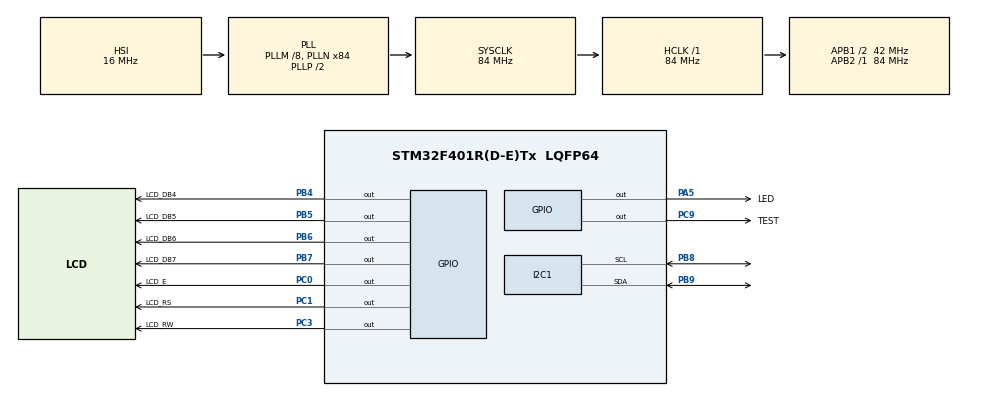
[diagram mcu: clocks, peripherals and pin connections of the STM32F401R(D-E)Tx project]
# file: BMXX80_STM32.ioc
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I2C1.I2C_Mode=I2C_Standard
Mcu.Family=STM32F4
Mcu.Name=STM32F401R(D-E)Tx
Mcu.Package=LQFP64
NVIC.PriorityGroup=NVIC_PRIORITYGROUP_4
PA5.GPIO_Label=LED
PA5.Signal=GPIO_Output
PB4.GPIO_Label=LCD_DB4
PB4.Signal=GPIO_Output
PB5.GPIO_Label=LCD_DB5
PB5.Signal=GPIO_Output
PB6.GPIO_Label=LCD_DB6
PB6.Signal=GPIO_Output
PB7.GPIO_Label=LCD_DB7
PB7.Signal=GPIO_Output
PB8.Mode=I2C
PB8.Signal=I2C1_SCL
PB9.Mode=I2C
PB9.Signal=I2C1_SDA
PC0.GPIO_Label=LCD_E
PC0.Signal=GPIO_Output
PC1.GPIO_Label=LCD_RS
PC1.Signal=GPIO_Output
PC3.GPIO_Label=LCD_RW
PC3.Signal=GPIO_Output
PC9.GPIO_Label=TEST
PC9.Signal=GPIO_Output
ProjectManager.HeapSize=0x200
ProjectManager.StackSize=0x400
ProjectManager.TargetToolchain=SW4STM32
RCC.48MHZClocksFreq_Value=42000000
RCC.AHBFreq_Value=84000000
RCC.APB1CLKDivider=RCC_HCLK_DIV2
RCC.APB1Freq_Value=42000000
RCC.APB1TimFreq_Value=84000000
RCC.APB2Freq_Value=84000000
RCC.APB2TimFreq_Value=84000000
RCC.CortexFreq_Value=84000000
RCC.HCLKFreq_Value=84000000
RCC.HSE_VALUE=25000000
RCC.HSI_VALUE=16000000
RCC.LSE_VALUE=32768
RCC.PLLM=8
RCC.PLLN=84
RCC.SYSCLKFreq_VALUE=84000000
RCC.SYSCLKSource=RCC_SYSCLKSOURCE_PLLCLK
RCC.VCOOutputFreq_Value=168000000
TIM3.Period=65535
TIM3.Prescaler=83
VP_TIM3_VS_ClockSourceINT.Mode=Internal
board=BMXX80_STM32

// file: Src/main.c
/**
  ******************************************************************************
  * File Name          : main.c
  * Description        : Main program body
  ******************************************************************************
  ** This notice applies to any and all portions of this file
  * that are not between comment pairs USER CODE BEGIN and
  * USER CODE END. Other portions of this file, whether
  * inserted by the user or by software development tools
  * are owned by their respective copyright owners.
  *
  * COPYRIGHT(c) 2018 STMicroelectronics
  *
  * Redistribution and use in source and binary forms, with or without modification,
  * are permitted provided that the following conditions are met:
  *   1. Redistributions of source code must retain the above copyright notice,
  *      this list of conditions and the following disclaimer.
  *   2. Redistributions in binary form must reproduce the above copyright notice,
  *      this list of conditions and the following disclaimer in the documentation
  *      and/or other materials provided with the distribution.
  *   3. Neither the name of STMicroelectronics nor the names of its contributors
  *      may be used to endorse or promote products derived from this software
  *      without specific prior written permission.
  *
  * THIS SOFTWARE IS PROVIDED BY THE COPYRIGHT HOLDERS AND CONTRIBUTORS "AS IS"
  * AND ANY EXPRESS OR IMPLIED WARRANTIES, INCLUDING, BUT NOT LIMITED TO, THE
  * IMPLIED WARRANTIES OF MERCHANTABILITY AND FITNESS FOR A PARTICULAR PURPOSE ARE
  * DISCLAIMED. IN NO EVENT SHALL THE COPYRIGHT HOLDER OR CONTRIBUTORS BE LIABLE
  * FOR ANY DIRECT, INDIRECT, INCIDENTAL, SPECIAL, EXEMPLARY, OR CONSEQUENTIAL
  * DAMAGES (INCLUDING, BUT NOT LIMITED TO, PROCUREMENT OF SUBSTITUTE GOODS OR
  * SERVICES; LOSS OF USE, DATA, OR PROFITS; OR BUSINESS INTERRUPTION) HOWEVER
  * CAUSED AND ON ANY THEORY OF LIABILITY, WHETHER IN CONTRACT, STRICT LIABILITY,
  * OR TORT (INCLUDING NEGLIGENCE OR OTHERWISE) ARISING IN ANY WAY OUT OF THE USE
  * OF THIS SOFTWARE, EVEN IF ADVISED OF THE POSSIBILITY OF SUCH DAMAGE.
  *
  ******************************************************************************
  */
#include "main.h"
#include "stm32f4xx_hal.h"
#include "i2c.h"
#include "tim.h"
#include "gpio.h"

/* USER CODE BEGIN Includes */
#include "LCD_HD44780.h"
#include "BMPXX80.h"
#include "delays.h"
/* USER CODE END Includes */

/* USER CODE BEGIN PV */
/* Private variables ---------------------------------------------------------*/
float temperature, huminidity;
int32_t pressure;
/* USER CODE END PV */

void SystemClock_Config(void);

/* USER CODE BEGIN PFP */
/* Private function prototypes -----------------------------------------------*/

/* USER CODE END PFP */

int main(void)
{

  /* MCU Configuration----------------------------------------------------------*/

  /* Reset of all peripherals, Initializes the Flash interface and the Systick. */
  HAL_Init();

  /* Configure the system clock */
  SystemClock_Config();

  /* Initialize all configured peripherals */
  MX_GPIO_Init();
  MX_I2C1_Init();
  MX_TIM3_Init();

  /* USER CODE BEGIN 2 */
  HAL_TIM_Base_Start(&htim3);
  LCD_Init();
  LCD_Locate(0,0);
  LCD_String("Pressure sensors");
  LCD_Locate(0,1);
  LCD_String("    test");
#ifdef BMP180
  BMP180_Init(&hi2c1, BMP180_STANDARD);
#endif
#ifdef BMP280
  BMP280_Init(&hi2c1, BMP280_TEMPERATURE_16BIT, BMP280_STANDARD, BMP280_FORCEDMODE);
#endif
#ifdef BME280
  BME280_Init(&hi2c1, BME280_TEMPERATURE_16BIT, BME280_PRESSURE_ULTRALOWPOWER, BME280_HUMINIDITY_STANDARD, BME280_NORMALMODE);
  BME280_SetConfig(BME280_STANDBY_MS_10, BME280_FILTER_OFF);
#endif
  HAL_Delay(3000);
  LCD_Cls();
  /* USER CODE END 2 */

  /* Infinite loop */
  while (1)
  {

  /* USER CODE BEGIN 3 */

#ifdef BMP180
	  HAL_GPIO_WritePin(TEST_GPIO_Port, TEST_Pin, 1);
	  uint8_t temperature = BMP180_ReadTemperature();

	  HAL_GPIO_WritePin(TEST_GPIO_Port, TEST_Pin, 0);
	  Delay_us(500);
	  HAL_GPIO_WritePin(TEST_GPIO_Port, TEST_Pin, 1);

	  uint32_t pressure = BMP180_ReadPressure();
	  HAL_GPIO_WritePin(TEST_GPIO_Port, TEST_Pin, 0);
	  Delay_us(500);
#endif

#ifdef BMP280
	  HAL_GPIO_WritePin(TEST_GPIO_Port, TEST_Pin, 1);
	  BMP280_ReadTemperatureAndPressure(&temperature, &pressure);
	  HAL_GPIO_WritePin(TEST_GPIO_Port, TEST_Pin, 0);
#endif

#ifdef BME280
	  HAL_GPIO_WritePin(TEST_GPIO_Port, TEST_Pin, 1);
	  BME280_ReadTemperatureAndPressureAndHuminidity(&temperature, &pressure, &huminidity);
	  HAL_GPIO_WritePin(TEST_GPIO_Port, TEST_Pin, 0);
#endif

	  LCD_Cls();
	  LCD_String("Temp: ");
	  LCD_Int((int)temperature);
	  LCD_Locate(10,0);
#ifdef BMP180
	  LCD_String("BMP180");
#endif
#ifdef BMP280
	  LCD_String("BMP280");
#endif
#ifdef BME280
	  LCD_String("BME280");
#endif
	  LCD_Locate(0,1);
	  LCD_String("Pres: ");
	  LCD_Int(pressure);
#ifdef BME280
	  LCD_Locate(13,1);
	  LCD_Int(huminidity);
#endif

	  HAL_GPIO_TogglePin(LED_GPIO_Port, LED_Pin);
	  HAL_Delay(500);
  }
  /* USER CODE END 3 */

}

/** System Clock Configuration
*/
void SystemClock_Config(void)
{

  RCC_OscInitTypeDef RCC_OscInitStruct;
  RCC_ClkInitTypeDef RCC_ClkInitStruct;

    /**Configure the main internal regulator output voltage
    */
  __HAL_RCC_PWR_CLK_ENABLE();

  __HAL_PWR_VOLTAGESCALING_CONFIG(PWR_REGULATOR_VOLTAGE_SCALE2);

    /**Initializes the CPU, AHB and APB busses clocks
    */
  RCC_OscInitStruct.OscillatorType = RCC_OSCILLATORTYPE_HSI;
  RCC_OscInitStruct.HSIState = RCC_HSI_ON;
  RCC_OscInitStruct.HSICalibrationValue = 16;
  RCC_OscInitStruct.PLL.PLLState = RCC_PLL_ON;
  RCC_OscInitStruct.PLL.PLLSource = RCC_PLLSOURCE_HSI;
  RCC_OscInitStruct.PLL.PLLM = 8;
  RCC_OscInitStruct.PLL.PLLN = 84;
  RCC_OscInitStruct.PLL.PLLP = RCC_PLLP_DIV2;
  RCC_OscInitStruct.PLL.PLLQ = 4;
  if (HAL_RCC_OscConfig(&RCC_OscInitStruct) != HAL_OK)
  {
    _Error_Handler(__FILE__, __LINE__);
  }

    /**Initializes the CPU, AHB and APB busses clocks
    */
  RCC_ClkInitStruct.ClockType = RCC_CLOCKTYPE_HCLK|RCC_CLOCKTYPE_SYSCLK
                              |RCC_CLOCKTYPE_PCLK1|RCC_CLOCKTYPE_PCLK2;
  RCC_ClkInitStruct.SYSCLKSource = RCC_SYSCLKSOURCE_PLLCLK;
  RCC_ClkInitStruct.AHBCLKDivider = RCC_SYSCLK_DIV1;
  RCC_ClkInitStruct.APB1CLKDivider = RCC_HCLK_DIV2;
  RCC_ClkInitStruct.APB2CLKDivider = RCC_HCLK_DIV1;

  if (HAL_RCC_ClockConfig(&RCC_ClkInitStruct, FLASH_LATENCY_2) != HAL_OK)
  {
    _Error_Handler(__FILE__, __LINE__);
  }

    /**Configure the Systick interrupt time
    */
  HAL_SYSTICK_Config(HAL_RCC_GetHCLKFreq()/1000);

    /**Configure the Systick
    */
  HAL_SYSTICK_CLKSourceConfig(SYSTICK_CLKSOURCE_HCLK);

  /* SysTick_IRQn interrupt configuration */
  HAL_NVIC_SetPriority(SysTick_IRQn, 0, 0);
}

void _Error_Handler(char * file, int line)
{
  while(1)
  {
  }
}

/************************ (C) COPYRIGHT STMicroelectronics *****END OF FILE****/
